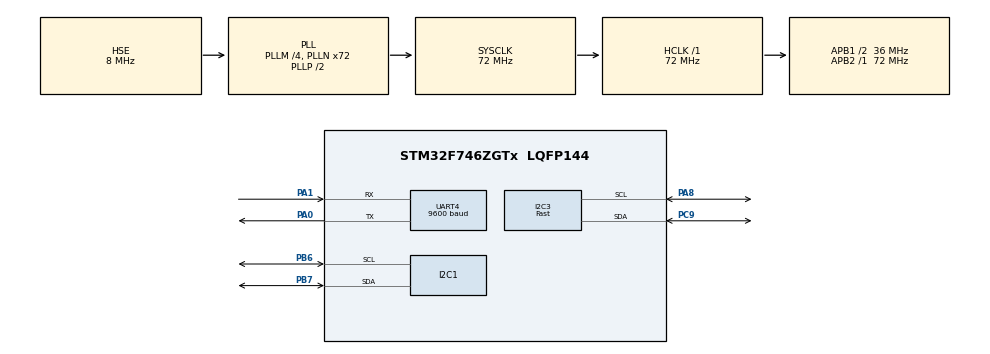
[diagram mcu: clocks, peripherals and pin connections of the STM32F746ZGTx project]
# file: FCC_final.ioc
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Dma.Request0=UART4_RX
Dma.UART4_RX.0.Direction=DMA_PERIPH_TO_MEMORY
Dma.UART4_RX.0.FIFOMode=DMA_FIFOMODE_DISABLE
Dma.UART4_RX.0.Instance=DMA1_Stream2
Dma.UART4_RX.0.MemDataAlignment=DMA_MDATAALIGN_BYTE
Dma.UART4_RX.0.MemInc=DMA_MINC_ENABLE
Dma.UART4_RX.0.Mode=DMA_NORMAL
Dma.UART4_RX.0.PeriphDataAlignment=DMA_PDATAALIGN_BYTE
Dma.UART4_RX.0.PeriphInc=DMA_PINC_DISABLE
Dma.UART4_RX.0.Priority=DMA_PRIORITY_LOW
I2C1.Timing=0x00808CD2
I2C3.I2C_Speed_Mode=I2C_Fast
I2C3.Timing=0x00301739
Mcu.Family=STM32F7
Mcu.Name=STM32F746ZGTx
Mcu.Package=LQFP144
NVIC.DMA1_Stream2_IRQn=true\:0\:0\:false\:false\:true\:false\:true\:true
NVIC.PriorityGroup=NVIC_PRIORITYGROUP_4
PA0/WKUP.Mode=Asynchronous
PA0/WKUP.Signal=UART4_TX
PA1.Mode=Asynchronous
PA1.Signal=UART4_RX
PA8.Mode=I2C
PA8.Signal=I2C3_SCL
PB6.Mode=I2C
PB6.Signal=I2C1_SCL
PB7.Mode=I2C
PB7.Signal=I2C1_SDA
PC9.Mode=I2C
PC9.Signal=I2C3_SDA
PH0/OSC_IN.Mode=HSE-External-Oscillator
PH0/OSC_IN.Signal=RCC_OSC_IN
PH1/OSC_OUT.Mode=HSE-External-Oscillator
PH1/OSC_OUT.Signal=RCC_OSC_OUT
ProjectManager.HeapSize=0x200
ProjectManager.StackSize=0x400
ProjectManager.TargetToolchain=STM32CubeIDE
RCC.48MHZClocksFreq_Value=24000000
RCC.AHBFreq_Value=72000000
RCC.APB1CLKDivider=RCC_HCLK_DIV2
RCC.APB1Freq_Value=36000000
RCC.APB1TimFreq_Value=72000000
RCC.APB2Freq_Value=72000000
RCC.APB2TimFreq_Value=72000000
RCC.CortexFreq_Value=72000000
RCC.HCLKFreq_Value=72000000
RCC.HSE_VALUE=8000000
RCC.HSI_VALUE=16000000
RCC.LSE_VALUE=32768
RCC.PLLM=4
RCC.PLLMUL=RCC_PLL_MUL9
RCC.PLLN=72
RCC.PLLQ=3
RCC.PLLSourceVirtual=RCC_PLLSOURCE_HSE
RCC.PRESCALERUSB=RCC_USBCLKSOURCE_PLL_DIV1_5
RCC.SYSCLKFreq_VALUE=72000000
RCC.SYSCLKSource=RCC_SYSCLKSOURCE_PLLCLK
RCC.SYSCLKSourceVirtual=RCC_SYSCLKSOURCE_PLLCLK
RCC.USBFreq_Value=48000000
RCC.VCOOutputFreq_Value=144000000
UART4.BaudRate=9600
board=NUCLEO-F746ZG

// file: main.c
/* USER CODE BEGIN Header */
/**
  ******************************************************************************
  * @file           : main.c
  * @brief          : Main program body
  ******************************************************************************
  * @attention
  *
  * Copyright (c) 2024 STMicroelectronics.
  * All rights reserved.
  *
  * This software is licensed under terms that can be found in the LICENSE file
  * in the root directory of this software component.
  * If no LICENSE file comes with this software, it is provided AS-IS.
  *
  ******************************************************************************
  */
/* USER CODE END Header */
#include "main.h"
#include "BMP180.h"
#include <stdio.h>
#include "mpu6050.h"

I2C_HandleTypeDef hi2c1;
I2C_HandleTypeDef hi2c3;

UART_HandleTypeDef huart4;
DMA_HandleTypeDef hdma_uart4_rx;

/* USER CODE BEGIN PV */
#define GPSBUFSIZE 128
UART_HandleTypeDef huart4;
uint8_t rx_data = 0;
uint8_t rx_buffer[GPSBUFSIZE];
uint8_t rx_index = 0;
/* USER CODE END PV */

void SystemClock_Config(void);
static void MPU_Config(void);
static void MX_GPIO_Init(void);
static void MX_I2C1_Init(void);
static void MX_I2C3_Init(void);
static void MX_DMA_Init(void);
static void MX_UART4_Init(void);

/* USER CODE BEGIN 0 */
float Temperature;
float Pressure;
float Altitude;

void GPS_UART_CallBack();
int GPS_UART_Validate(char *nmeastr);
void GPS_parse(char *GPSstrParse);
float GPS_nmea_to_dec(float deg_coord, char nsew);

typedef struct{

    // calculated values
    float dec_longitude;
    float dec_latitude;
    float altitude_ft;

    // GGA - Global Positioning System Fixed Data
    float nmea_longitude;
    float nmea_latitude;
    float utc_time;
    char ns, ew;
    int lock;
    int satelites;
    float hdop;
    float msl_altitude;
    char msl_units;

    // RMC - Recommended Minimmum Specific GNS Data
    char rmc_status;
    float speed_k;
    float course_d;
    int date;

    // GLL
    char gll_status;

    // VTG - Course over ground, ground speed
    float course_t; // ground speed true
    char course_t_unit;
    float course_m; // magnetic
    char course_m_unit;
    char speed_k_unit;
    float speed_km; // speek km/hr
    char speed_km_unit;
} GPS_t;

GPS_t GPS;

void GPS_UART_CallBack()
{
	printf("GPS_UART_CallBack function is called.\n");
	printf("rx_data: %s", rx_buffer);
//	printf("No data");
		if (rx_data != '\n' && rx_index <sizeof(rx_buffer))
		{
			rx_buffer[rx_index++]=rx_data;
	/*		if ((rx_buffer)==0)
			{
				printf("No data");
			}
			else
			{

			}
	*/
			printf("GPS data received : %s\n",rx_buffer[rx_index++]);
		    if (rx_index > 128)
		    {
		    	if (GPS_UART_Validate((char*) rx_buffer))
		    	GPS_parse((char*) rx_buffer);

		        rx_index=0;
		    }
		    else
		    {
		    	printf("Not Valid.");
		    }
		}
		else
		{
			printf("ERROR!!! Data is not being fetched.");
		}

	//GPS_UART_Validate();
	}
int GPS_UART_Validate(char *nmeastr)
{
    printf("This function is called by the GPS_UART_CallBack: GPS_UART_Validate function is called.\n");
    char check[3];
        char checkcalcstr[3];
        int i;
        int calculated_check;

        i=0;
        calculated_check=0;

    	if (nmeastr[i]='$')
    	{
    		i++;
    	}
    	else
    	{
    		return 0;
    	}

    	while((nmeastr[i] !=0) && (nmeastr[i] != '*')&& (i<75))
    	{
    		calculated_check ^= nmeastr[i];  //calculate checksum
    		i++;
    	}

    	if(i >= 75)
    	{
    		printf("i greater than 75");
    		return 0;// the string was too long so return an error
    	}
    	else
    	{

    	}
    	if (nmeastr[i] == '*')
    	{
    	        check[0] = nmeastr[i+1];    //put hex chars in check string
    	        check[1] = nmeastr[i+2];
    	        check[2] = 0;
    	}
    	else
    	{
    	   return 0;// no checksum separator found there for invalid
    	}
    	   sprintf(checkcalcstr,"%02X",calculated_check);
    	   return((checkcalcstr[0] == check[0]) && (checkcalcstr[1] == check[1])) ? 1 : 0 ;

//    GPS_parse();
}

void GPS_parse(char *GPSstrParse)
{
   printf("This function is called by the GPS_UART_Validate: GPS_parse function is called.\n");
   if(!strncmp(GPSstrParse, "$GPGGA", 6)){
      	if (sscanf(GPSstrParse, "$GPGGA,%f,%f,%c,%f,%c,%d,%d,%f,%f,%c", &GPS.utc_time, &GPS.nmea_latitude, &GPS.ns, &GPS.nmea_longitude, &GPS.ew, &GPS.lock, &GPS.satelites, &GPS.hdop, &GPS.msl_altitude, &GPS.msl_units) >= 1){
      		GPS.dec_latitude = GPS_nmea_to_dec(GPS.nmea_latitude, GPS.ns);
      		GPS.dec_longitude = GPS_nmea_to_dec(GPS.nmea_longitude, GPS.ew);
      		return;
      	}
      }
      else if (!strncmp(GPSstrParse, "$GPRMC", 6)){
      	if(sscanf(GPSstrParse, "$GPRMC,%f,%f,%c,%f,%c,%f,%f,%d", &GPS.utc_time, &GPS.nmea_latitude, &GPS.ns, &GPS.nmea_longitude, &GPS.ew, &GPS.speed_k, &GPS.course_d, &GPS.date) >= 1)
      		return;

      }
      else if (!strncmp(GPSstrParse, "$GPGLL", 6)){
          if(sscanf(GPSstrParse, "$GPGLL,%f,%c,%f,%c,%f,%c", &GPS.nmea_latitude, &GPS.ns, &GPS.nmea_longitude, &GPS.ew, &GPS.utc_time, &GPS.gll_status) >= 1)
              return;
      }
      else if (!strncmp(GPSstrParse, "$GPVTG", 6)){
          if(sscanf(GPSstrParse, "$GPVTG,%f,%c,%f,%c,%f,%c,%f,%c", &GPS.course_t, &GPS.course_t_unit, &GPS.course_m, &GPS.course_m_unit, &GPS.speed_k, &GPS.speed_k_unit, &GPS.speed_km, &GPS.speed_km_unit) >= 1)
              return;
      }

   //GPS_nmea_to_dec();

}
float GPS_nmea_to_dec(float deg_coord, char nsew) {
    printf("This function is called by the GPS_parse: GPS_nmea_to_dec function is called.\n");
    printf("____________________________________________\n");
    int degree = (int)(deg_coord/100);
        float minutes = deg_coord - degree*100;
        float dec_deg = minutes / 60;
        float decimal = degree + dec_deg;
        if (nsew == 'S' || nsew == 'W') { // return negative
            decimal *= -1;
        }
        return decimal;
}

/* USER CODE END 0 */
int _write(int file, char *ptr, int len)
{
  (void)file;
  int DataIdx;

  for (DataIdx = 0; DataIdx < len; DataIdx++)
  {
    ITM_SendChar(*ptr++);
  }
  return len;
}
int main(void)
{

  /* MCU Configuration--------------------------------------------------------*/

  /* Reset of all peripherals, Initializes the Flash interface and the Systick. */
  HAL_Init();

  /* Configure the system clock */
  SystemClock_Config();

  /* Initialize all configured peripherals */
  MX_GPIO_Init();
  MX_DMA_Init();
  MX_UART4_Init();
  MX_I2C1_Init();
  MX_I2C3_Init();
  /* USER CODE BEGIN 2 */
  mpu6050_init();
  /* USER CODE END 2 */

  /* Infinite loop */
  /* USER CODE BEGIN WHILE */
  BMP180_Start();

    /* USER CODE END 2 */

    /* Infinite loop */
    /* USER CODE BEGIN WHILE */
    while (1)
    {
      /* USER CODE END WHILE */
	HAL_UART_Receive(&huart4, &rx_data ,11,100);
		  printf(rx_data);
		  //printf( " While loop execution.\n ");
		  GPS_UART_CallBack();
      /* USER CODE BEGIN 3 */
  	 Temperature = BMP180_GetTemp();
  	 Pressure = BMP180_GetPress(0);
  	 Altitude = BMP180_GetAlt(0);

  	 HAL_Delay(2000);

  	mpu6050_read();
    HAL_Delay(1000);

    }
}

void SystemClock_Config(void)
{
  RCC_OscInitTypeDef RCC_OscInitStruct = {0};
  RCC_ClkInitTypeDef RCC_ClkInitStruct = {0};

  /** Configure the main internal regulator output voltage
  */
  __HAL_RCC_PWR_CLK_ENABLE();
  __HAL_PWR_VOLTAGESCALING_CONFIG(PWR_REGULATOR_VOLTAGE_SCALE3);

  /** Initializes the RCC Oscillators according to the specified parameters
  * in the RCC_OscInitTypeDef structure.
  */
  RCC_OscInitStruct.OscillatorType = RCC_OSCILLATORTYPE_HSE;
  RCC_OscInitStruct.HSEState = RCC_HSE_ON;
  RCC_OscInitStruct.PLL.PLLState = RCC_PLL_ON;
  RCC_OscInitStruct.PLL.PLLSource = RCC_PLLSOURCE_HSE;
  RCC_OscInitStruct.PLL.PLLM = 4;
  RCC_OscInitStruct.PLL.PLLN = 72;
  RCC_OscInitStruct.PLL.PLLP = RCC_PLLP_DIV2;
  RCC_OscInitStruct.PLL.PLLQ = 3;
  if (HAL_RCC_OscConfig(&RCC_OscInitStruct) != HAL_OK)
  {
    Error_Handler();
  }

  /** Initializes the CPU, AHB and APB buses clocks
  */
  RCC_ClkInitStruct.ClockType = RCC_CLOCKTYPE_HCLK|RCC_CLOCKTYPE_SYSCLK
                              |RCC_CLOCKTYPE_PCLK1|RCC_CLOCKTYPE_PCLK2;
  RCC_ClkInitStruct.SYSCLKSource = RCC_SYSCLKSOURCE_PLLCLK;
  RCC_ClkInitStruct.AHBCLKDivider = RCC_SYSCLK_DIV1;
  RCC_ClkInitStruct.APB1CLKDivider = RCC_HCLK_DIV2;
  RCC_ClkInitStruct.APB2CLKDivider = RCC_HCLK_DIV1;

  if (HAL_RCC_ClockConfig(&RCC_ClkInitStruct, FLASH_LATENCY_2) != HAL_OK)
  {
    Error_Handler();
  }
}

static void MX_I2C1_Init(void)
{

  hi2c1.Instance = I2C1;
  hi2c1.Init.Timing = 0x00808CD2;
  hi2c1.Init.OwnAddress1 = 0;
  hi2c1.Init.AddressingMode = I2C_ADDRESSINGMODE_7BIT;
  hi2c1.Init.DualAddressMode = I2C_DUALADDRESS_DISABLE;
  hi2c1.Init.OwnAddress2 = 0;
  hi2c1.Init.OwnAddress2Masks = I2C_OA2_NOMASK;
  hi2c1.Init.GeneralCallMode = I2C_GENERALCALL_DISABLE;
  hi2c1.Init.NoStretchMode = I2C_NOSTRETCH_DISABLE;
  if (HAL_I2C_Init(&hi2c1) != HAL_OK)
  {
    Error_Handler();
  }

  /** Configure Analogue filter
  */
  if (HAL_I2CEx_ConfigAnalogFilter(&hi2c1, I2C_ANALOGFILTER_ENABLE) != HAL_OK)
  {
    Error_Handler();
  }

  /** Configure Digital filter
  */
  if (HAL_I2CEx_ConfigDigitalFilter(&hi2c1, 0) != HAL_OK)
  {
    Error_Handler();
  }

}

static void MX_I2C3_Init(void)
{

  hi2c3.Instance = I2C3;
  hi2c3.Init.Timing = 0x00301739;
  hi2c3.Init.OwnAddress1 = 0;
  hi2c3.Init.AddressingMode = I2C_ADDRESSINGMODE_7BIT;
  hi2c3.Init.DualAddressMode = I2C_DUALADDRESS_DISABLE;
  hi2c3.Init.OwnAddress2 = 0;
  hi2c3.Init.OwnAddress2Masks = I2C_OA2_NOMASK;
  hi2c3.Init.GeneralCallMode = I2C_GENERALCALL_DISABLE;
  hi2c3.Init.NoStretchMode = I2C_NOSTRETCH_DISABLE;
  if (HAL_I2C_Init(&hi2c3) != HAL_OK)
  {
    Error_Handler();
  }

  /** Configure Analogue filter
  */
  if (HAL_I2CEx_ConfigAnalogFilter(&hi2c3, I2C_ANALOGFILTER_ENABLE) != HAL_OK)
  {
    Error_Handler();
  }

  /** Configure Digital filter
  */
  if (HAL_I2CEx_ConfigDigitalFilter(&hi2c3, 0) != HAL_OK)
  {
    Error_Handler();
  }

}

static void MX_UART4_Init(void)
{

  huart4.Instance = UART4;
  huart4.Init.BaudRate = 9600;
  huart4.Init.WordLength = UART_WORDLENGTH_8B;
  huart4.Init.StopBits = UART_STOPBITS_1;
  huart4.Init.Parity = UART_PARITY_NONE;
  huart4.Init.Mode = UART_MODE_TX_RX;
  huart4.Init.HwFlowCtl = UART_HWCONTROL_NONE;
  huart4.Init.OverSampling = UART_OVERSAMPLING_16;
  huart4.Init.OneBitSampling = UART_ONE_BIT_SAMPLE_DISABLE;
  huart4.AdvancedInit.AdvFeatureInit = UART_ADVFEATURE_NO_INIT;
  if (HAL_UART_Init(&huart4) != HAL_OK)
  {
    Error_Handler();
  }
  /* USER CODE BEGIN UART4_Init 2 */
  HAL_UART_Receive(&huart4, &rx_data ,128,100);
  /* USER CODE END UART4_Init 2 */

}

static void MX_DMA_Init(void)
{

  /* DMA controller clock enable */
  __HAL_RCC_DMA1_CLK_ENABLE();

  /* DMA interrupt init */
  /* DMA1_Stream2_IRQn interrupt configuration */
  HAL_NVIC_SetPriority(DMA1_Stream2_IRQn, 0, 0);
  HAL_NVIC_EnableIRQ(DMA1_Stream2_IRQn);

}

static void MX_GPIO_Init(void)
{

  /* GPIO Ports Clock Enable */
  __HAL_RCC_GPIOH_CLK_ENABLE();
  __HAL_RCC_GPIOC_CLK_ENABLE();
  __HAL_RCC_GPIOA_CLK_ENABLE();
  __HAL_RCC_GPIOB_CLK_ENABLE();

}

void MPU_Config(void)
{
  MPU_Region_InitTypeDef MPU_InitStruct = {0};

  /* Disables the MPU */
  HAL_MPU_Disable();

  /** Initializes and configures the Region and the memory to be protected
  */
  MPU_InitStruct.Enable = MPU_REGION_ENABLE;
  MPU_InitStruct.Number = MPU_REGION_NUMBER0;
  MPU_InitStruct.BaseAddress = 0x0;
  MPU_InitStruct.Size = MPU_REGION_SIZE_4GB;
  MPU_InitStruct.SubRegionDisable = 0x87;
  MPU_InitStruct.TypeExtField = MPU_TEX_LEVEL0;
  MPU_InitStruct.AccessPermission = MPU_REGION_NO_ACCESS;
  MPU_InitStruct.DisableExec = MPU_INSTRUCTION_ACCESS_DISABLE;
  MPU_InitStruct.IsShareable = MPU_ACCESS_SHAREABLE;
  MPU_InitStruct.IsCacheable = MPU_ACCESS_NOT_CACHEABLE;
  MPU_InitStruct.IsBufferable = MPU_ACCESS_NOT_BUFFERABLE;

  HAL_MPU_ConfigRegion(&MPU_InitStruct);
  /* Enables the MPU */
  HAL_MPU_Enable(MPU_PRIVILEGED_DEFAULT);

}

void Error_Handler(void)
{
  __disable_irq();
  while (1)
  {
  }
}
